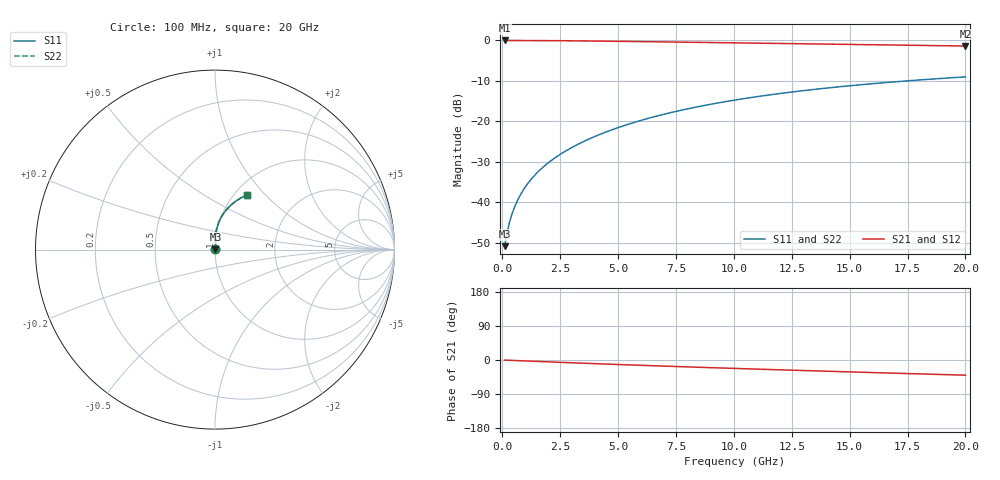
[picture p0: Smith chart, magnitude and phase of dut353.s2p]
! Touchstone file exported from HFSS 2024.1.0
!  File:  C:/UserFiles/LocalFiles/RDL_TSV_Batchsim/temp_RDL_bottom_353_1779612510.aedt
!  Generated:  04:50:58 PM May 24, 2026
!  Design:  RDL_bottom
!  Project:  temp_RDL_bottom_353_1779612510
!  Setup:  Setup1
!  Solution:  Sweep
! Variables:
!  dtsv = 10.80580581um
!  hbump = 3um
!  htsv = 70.9um
!  ldown = 550.96um
!  lrdl = 100um
!  p = 40
!  p1 = 59.53um
!  rhole = 1um
!  t = 450um
!  tdown = 3.46um
!  trdl = 3.915915916um
!  wdown = 27.73um
!  wrdl = 20um
# GHz S MA R 50.000000
! Terminal data exported
! Port[1] = RDL1_T1
! Port[2] = RDL1_T2
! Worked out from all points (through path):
!   200 points, 100 MHz to 20 GHz, reference 50 ohm
!   highest |S21| = -0.02 dB at 100 MHz (marker M1); lowest = -1.4 dB at 20 GHz (marker M2)
!   group delay of S21, straight-line fit = 5.49 ps
!   lowest |S11| = -50.9 dB at 100 MHz (marker M3), VSWR 1.01, Z = 50.2 + j0.171 ohm
!   |S11| at or under -10 dB: start of sweep to 17.52 GHz
!   |S22| runs from -50.9 to -9.0 dB; largest |S21 - S12| = 4.1e-15
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0.1  0.002849 36.7  0.9977 -0.3  0.9977 -0.3  0.002849 36.7
! Gamma 0 0 0 0
! Port Impedance 50 0 50 0
0.2  0.004106 53.9  0.9975 -0.5  0.9975 -0.5  0.004106 53.9
0.3  0.005472 62.3  0.9973 -0.8  0.9973 -0.8  0.005472 62.3
0.4  0.006855 67.4  0.9971 -1.0  0.9971 -1.0  0.006855 67.4
0.5  0.008251 71.1  0.9969 -1.3  0.9969 -1.3  0.008251 71.0
0.6  0.009663 73.8  0.9968 -1.5  0.9968 -1.5  0.009663 73.8
0.8  0.01254 77.6  0.9964 -2.0  0.9964 -2.0  0.01254 77.6
1.1  0.01695 81.1  0.9957 -2.8  0.9957 -2.8  0.01695 81.1
1.3  0.01996 82.7  0.9951 -3.2  0.9951 -3.2  0.01996 82.7
1.6  0.02454 84.4  0.9941 -4.0  0.9941 -4.0  0.02454 84.4
2.1  0.03241 86.3  0.9921 -5.2  0.9921 -5.2  0.03241 86.2
2.7  0.04221 87.5  0.9891 -6.6  0.9891 -6.6  0.04221 87.5
3.5  0.05591 88.2  0.9843 -8.5  0.9843 -8.5  0.05591 88.2
4.2  0.06846 88.2  0.9795 -10.1  0.9795 -10.1  0.06845 88.2
5  0.08336 87.7  0.9735 -11.9  0.9735 -11.9  0.08335 87.7
6.8  0.1184 85.4  0.9591 -15.8  0.9591 -15.8  0.1183 85.4
8.4  0.1502 82.5  0.9459 -19.0  0.9459 -19.0  0.1502 82.5
10.1  0.1839 79.1  0.9319 -22.4  0.9319 -22.4  0.1838 79.1
11.7  0.2147 75.8  0.9187 -25.4  0.9187 -25.4  0.2146 75.8
13.4  0.2463 72.3  0.9049 -28.6  0.9049 -28.6  0.2462 72.2
16.7  0.3031 65.7  0.8781 -34.4  0.8781 -34.4  0.303 65.7
20  0.3536 59.5  0.8516 -40.0  0.8516 -40.0  0.3534 59.5
